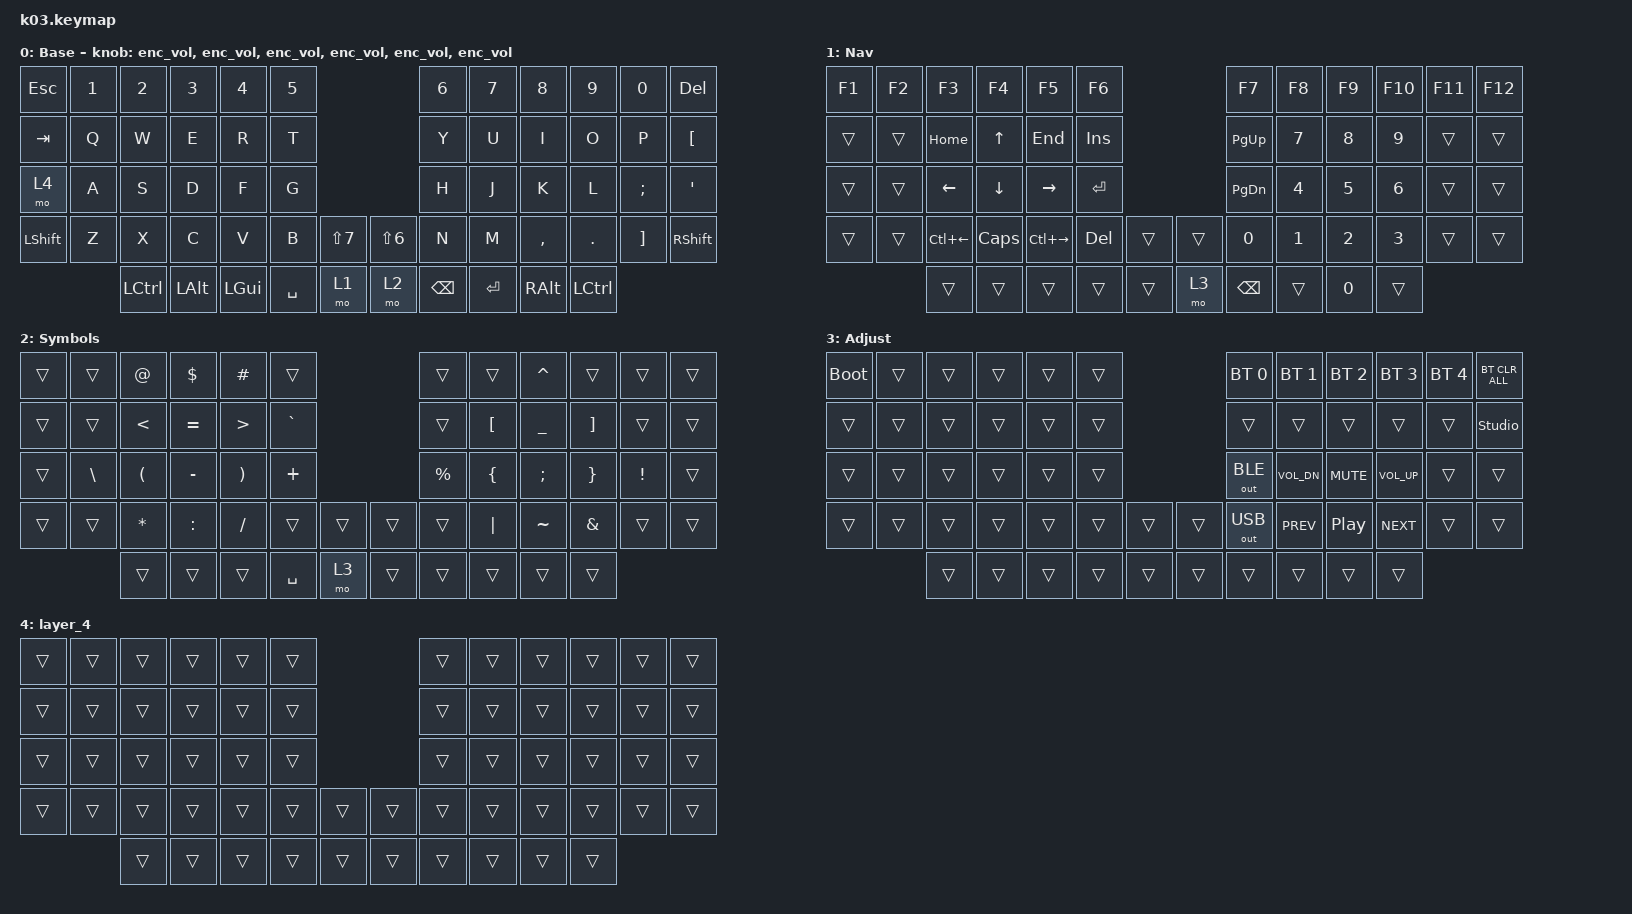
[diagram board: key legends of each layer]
#include "keys_ru.h"
#include <behaviors.dtsi>
#include <dt-bindings/zmk/bt.h>
#include <dt-bindings/zmk/keys.h>
#include <dt-bindings/zmk/outputs.h>

/ {
    behaviors {
        enc_vol: enc_vol {
            compatible = "zmk,behavior-sensor-rotate";
            label = "ENC_VOL";
            #sensor-binding-cells = <0>;
            bindings = <&kp C_VOL_UP>, <&kp C_VOL_DN>;
        };
    };

    keymap {
        compatible = "zmk,keymap";

        base {
            bindings = <
&kp ESCAPE  &kp N1  &kp N2     &kp N3    &kp N4    &kp N5                               &kp N6         &kp N7     &kp N8     &kp N9     &kp N0    &kp DELETE
&kp TAB     &kp Q   &kp W      &kp E     &kp R     &kp T                                &kp Y          &kp U      &kp I      &kp O      &kp P     &kp LBKT
&mo 4       &kp A   &kp S      &kp D     &kp F     &kp G                                &kp H          &kp J      &kp K      &kp L      &kp SEMI  &kp SQT
&kp LSHFT   &kp Z   &kp X      &kp C     &kp V     &kp B      &kp LS(N7)    &kp LS(N6)  &kp N          &kp M      &kp COMMA  &kp DOT    &kp RBKT  &kp RSHFT
                    &kp LCTRL  &kp LALT  &kp LGUI  &kp SPACE  &mo 1         &mo 2       &kp BACKSPACE  &kp ENTER  &kp RALT   &kp LCTRL
            >;

            display-name = "Base";
            sensor-bindings =
                <&enc_vol>,
                <&enc_vol>,
                <&enc_vol>,
                <&enc_vol>,
                <&enc_vol>,
                <&enc_vol>;
        };

        nav {
            bindings = <
&kp F1  &kp F2  &kp F3        &kp F4    &kp F5         &kp F6                     &kp F7         &kp F8  &kp F9  &kp F10  &kp F11  &kp F12
&trans  &trans  &kp HOME      &kp UP    &kp END        &kp INS                    &kp PG_UP      &kp N7  &kp N8  &kp N9   &trans   &trans
&trans  &trans  &kp LEFT      &kp DOWN  &kp RIGHT      &kp RET                    &kp PG_DN      &kp N4  &kp N5  &kp N6   &trans   &trans
&trans  &trans  &kp LC(LEFT)  &kp CAPS  &kp LC(RIGHT)  &kp DEL  &trans    &trans  &kp N0         &kp N1  &kp N2  &kp N3   &trans   &trans
                &trans        &trans    &trans         &trans   &trans    &mo 3   &kp BACKSPACE  &trans  &kp N0  &trans
            >;

            display-name = "Nav";
        };

        sym {
            bindings = <
&trans  &trans    &kp AT    &kp DLLR   &kp HASH  &trans                       &trans     &trans    &kp CARET  &trans    &trans    &trans
&trans  &trans    &kp LT    &kp EQUAL  &kp GT    &kp GRAVE                    &trans     &kp LBKT  &kp UNDER  &kp RBKT  &trans    &trans
&trans  &kp BSLH  &kp LPAR  &kp MINUS  &kp RPAR  &kp PLUS                     &kp PRCNT  &kp LBRC  &kp SEMI   &kp RBRC  &kp EXCL  &trans
&trans  &trans    &kp STAR  &kp COLON  &kp FSLH  &trans     &trans    &trans  &trans     &kp PIPE  &kp TILDE  &kp AMPS  &trans    &trans
                  &trans    &trans     &trans    &kp SPACE  &mo 3     &trans  &trans     &trans    &trans     &trans
            >;

            display-name = "Symbols";
        };

        adj {
            bindings = <
&bootloader  &trans  &trans  &trans  &trans  &trans                    &bt BT_SEL 0  &bt BT_SEL 1  &bt BT_SEL 2      &bt BT_SEL 3  &bt BT_SEL 4  &bt BT_CLR_ALL
&trans       &trans  &trans  &trans  &trans  &trans                    &trans        &trans        &trans            &trans        &trans        &studio_unlock
&trans       &trans  &trans  &trans  &trans  &trans                    &out OUT_BLE  &kp C_VOL_DN  &kp C_MUTE        &kp C_VOL_UP  &trans        &trans
&trans       &trans  &trans  &trans  &trans  &trans  &trans    &trans  &out OUT_USB  &kp C_PREV    &kp C_PLAY_PAUSE  &kp C_NEXT    &trans        &trans
                     &trans  &trans  &trans  &trans  &trans    &trans  &trans        &trans        &trans            &trans
            >;

            display-name = "Adjust";
        };

        layer_4 {
            bindings = <
&trans  &trans  &trans  &trans  &trans  &trans                    &trans  &trans  &trans  &trans  &trans  &trans
&trans  &trans  &trans  &trans  &trans  &trans                    &trans  &trans  &trans  &trans  &trans  &trans
&trans  &trans  &trans  &trans  &trans  &trans                    &trans  &trans  &trans  &trans  &trans  &trans
&trans  &trans  &trans  &trans  &trans  &trans  &trans    &trans  &trans  &trans  &trans  &trans  &trans  &trans
                &trans  &trans  &trans  &trans  &trans    &trans  &trans  &trans  &trans  &trans
            >;
        };
    };
};
